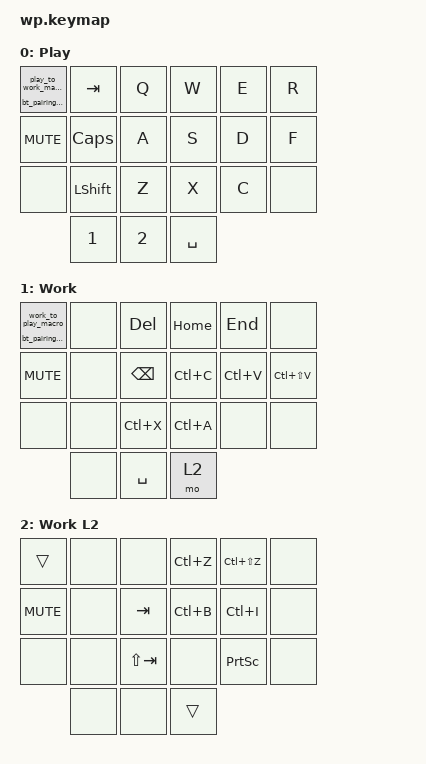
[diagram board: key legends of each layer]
/*
 * WP / Corne Wireless - Left Half Only
 * nice!nano v2
 * Typeractive 6-column left PCB
 *
 * Bluetooth / Layout behavior:
 *
 * PLAY:
 *   Tap BT     -> Bluetooth Profile 2 + Work layout
 *   Hold 4 sec -> Clear current BT profile for re-pairing
 *
 * WORK:
 *   Tap BT     -> Bluetooth Profile 1 + Play layout
 *   Hold 4 sec -> Clear current BT profile for re-pairing
 *
 * Layers:
 *
 * Layer 0 = Bluetooth Profile 1 - Play
 * Layer 1 = Bluetooth Profile 2 - Work
 * Layer 2 = Work Layer 2
 */

#include <behaviors.dtsi>
#include <dt-bindings/zmk/keys.h>
#include <dt-bindings/zmk/bt.h>

/ {
    macros {

        /*
         * Hold action:
         *
         * Clear bond information for the currently
         * selected Bluetooth profile.
         *
         * Once cleared, ZMK will advertise that profile
         * so it can be paired again.
         */
        bt_pairing_macro: bt_pairing_macro {
            compatible = "zmk,behavior-macro";
            #binding-cells = <0>;

            bindings = <
                &bt BT_CLR
            >;
        };


        /*
         * PLAY -> WORK
         *
         * Explicitly select BT Profile 2
         * and activate Work layer.
         *
         * ZMK BT profiles are zero-indexed:
         *
         * Profile 1 = BT_SEL 0
         * Profile 2 = BT_SEL 1
         */
        play_to_work_macro: play_to_work_macro {
            compatible = "zmk,behavior-macro";
            #binding-cells = <0>;

            bindings = <
                &bt BT_SEL 1
                &to 1
            >;
        };


        /*
         * WORK -> PLAY
         *
         * Explicitly select BT Profile 1
         * and return to Play/base layer.
         */
        work_to_play_macro: work_to_play_macro {
            compatible = "zmk,behavior-macro";
            #binding-cells = <0>;

            bindings = <
                &bt BT_SEL 0
                &to 0
            >;
        };
    };


    behaviors {

        /*
         * BT key while on PLAY
         *
         * TAP:
         *   Profile 2 + Work
         *
         * HOLD 4 seconds:
         *   Clear current Bluetooth profile
         */
        bt_play_switch: bt_play_switch {
            compatible = "zmk,behavior-hold-tap";
            #binding-cells = <2>;

            tapping-term-ms = <4000>;
            flavor = "tap-preferred";

            bindings = <
                &bt_pairing_macro
                &play_to_work_macro
            >;
        };


        /*
         * BT key while on WORK
         *
         * TAP:
         *   Profile 1 + Play
         *
         * HOLD 4 seconds:
         *   Clear current Bluetooth profile
         */
        bt_work_switch: bt_work_switch {
            compatible = "zmk,behavior-hold-tap";
            #binding-cells = <2>;

            tapping-term-ms = <4000>;
            flavor = "tap-preferred";

            bindings = <
                &bt_pairing_macro
                &work_to_play_macro
            >;
        };
    };


    keymap {
        compatible = "zmk,keymap";


        // =========================================================
        // LAYER 0
        //
        // Bluetooth Profile 1
        // PLAY
        //
        // ┌──────┬─────┬───┬───┬───┬───┐
        // │  BT  │ TAB │ Q │ W │ E │ R │
        // ├──────┼─────┼───┼───┼───┼───┤
        // │ MUTE │CAPS │ A │ S │ D │ F │
        // ├──────┼─────┼───┼───┼───┼───┤
        // │      │SHFT │ Z │ X │ C │   │
        // └──────┴─────┴───┴───┴───┴───┘
        //
        //              ┌───┬───┬───────┐
        //              │ 1 │ 2 │ SPACE │
        //              └───┴───┴───────┘
        //
        // =========================================================

        profile_1_layer {
            display-name = "Play";

            bindings = <
                &bt_play_switch 0 0   &kp TAB     &kp Q   &kp W   &kp E   &kp R

                &kp C_MUTE            &kp CAPS    &kp A   &kp S   &kp D   &kp F

                &none                 &kp LSHFT   &kp Z   &kp X   &kp C   &none

                                      &kp N1      &kp N2  &kp SPACE
            >;
        };


        // =========================================================
        // LAYER 1
        //
        // Bluetooth Profile 2
        // WORK
        //
        // ┌──────┬───────┬────────┬──────┬───────┬──────────────┐
        // │  BT  │       │ DELETE │ HOME │  END  │              │
        // ├──────┼───────┼────────┼──────┼───────┼──────────────┤
        // │ MUTE │       │  BSPC  │ COPY │ PASTE │ SPECIAL PASTE│
        // ├──────┼───────┼────────┼──────┼───────┼──────────────┤
        // │      │       │  CUT   │ SELA │       │              │
        // └──────┴───────┴────────┴──────┴───────┴──────────────┘
        //
        //                   ┌──────┬───────┬────┐
        //                   │ NONE │ SPACE │ L2 │
        //                   └──────┴───────┴────┘
        //
        // Copy          = Ctrl+C
        // Paste         = Ctrl+V
        // Special Paste = Ctrl+Shift+V
        // Cut           = Ctrl+X
        // Select All    = Ctrl+A
        //
        // =========================================================

        profile_2_default_layer {
            display-name = "Work";

            bindings = <
                &bt_work_switch 0 0   &none       &kp DEL        &kp HOME      &kp END        &none

                &kp C_MUTE            &none       &kp BSPC       &kp LC(C)     &kp LC(V)      &kp LC(LS(V))

                &none                 &none       &kp LC(X)      &kp LC(A)     &none          &none

                                      &none        &kp SPACE      &mo 2
            >;
        };


        // =========================================================
        // LAYER 2
        //
        // WORK L2
        //
        // Hold the bottom-right thumb key from Work.
        //
        // ┌──────┬───────┬───────┬──────┬────────┬───────┐
        // │  BT  │       │       │ UNDO │  REDO  │       │
        // ├──────┼───────┼───────┼──────┼────────┼───────┤
        // │ MUTE │       │  TAB  │ BOLD │ ITALIC │       │
        // ├──────┼───────┼───────┼──────┼────────┼───────┤
        // │      │       │S+TAB  │      │ PRINT  │       │
        // └──────┴───────┴───────┴──────┴────────┴───────┘
        //
        //                  ┌──────┬──────┬─────────┐
        //                  │ NONE │ NONE │ THROUGH │
        //                  └──────┴──────┴─────────┘
        //
        // Undo      = Ctrl+Z
        // Redo      = Ctrl+Shift+Z
        // Bold      = Ctrl+B
        // Italic    = Ctrl+I
        // Shift+Tab = Shift+Tab
        //
        // =========================================================

        profile_2_layer_2 {
            display-name = "Work L2";

            bindings = <
                &trans       &none       &none          &kp LC(Z)       &kp LC(LS(Z))   &none

                &kp C_MUTE   &none       &kp TAB        &kp LC(B)       &kp LC(I)       &none

                &none        &none       &kp LS(TAB)    &none           &kp PSCRN       &none

                             &none        &none          &trans
            >;
        };
    };
};
